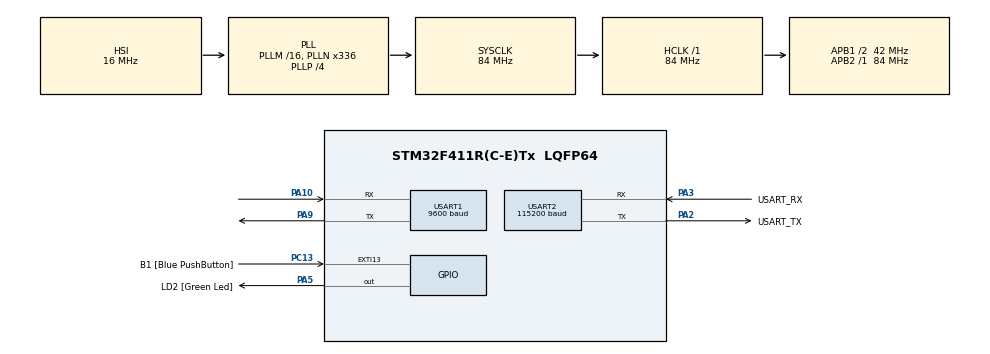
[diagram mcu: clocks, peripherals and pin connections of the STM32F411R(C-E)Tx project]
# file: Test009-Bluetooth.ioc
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Dma.Request0=USART1_RX
Dma.Request1=USART2_RX
Dma.USART1_RX.0.Direction=DMA_PERIPH_TO_MEMORY
Dma.USART1_RX.0.FIFOMode=DMA_FIFOMODE_DISABLE
Dma.USART1_RX.0.Instance=DMA2_Stream2
Dma.USART1_RX.0.MemDataAlignment=DMA_MDATAALIGN_BYTE
Dma.USART1_RX.0.MemInc=DMA_MINC_ENABLE
Dma.USART1_RX.0.Mode=DMA_CIRCULAR
Dma.USART1_RX.0.PeriphDataAlignment=DMA_PDATAALIGN_BYTE
Dma.USART1_RX.0.PeriphInc=DMA_PINC_DISABLE
Dma.USART1_RX.0.Priority=DMA_PRIORITY_LOW
Dma.USART2_RX.1.Direction=DMA_PERIPH_TO_MEMORY
Dma.USART2_RX.1.FIFOMode=DMA_FIFOMODE_DISABLE
Dma.USART2_RX.1.Instance=DMA1_Stream5
Dma.USART2_RX.1.MemDataAlignment=DMA_MDATAALIGN_BYTE
Dma.USART2_RX.1.MemInc=DMA_MINC_ENABLE
Dma.USART2_RX.1.Mode=DMA_CIRCULAR
Dma.USART2_RX.1.PeriphDataAlignment=DMA_PDATAALIGN_BYTE
Dma.USART2_RX.1.PeriphInc=DMA_PINC_DISABLE
Dma.USART2_RX.1.Priority=DMA_PRIORITY_LOW
Mcu.Family=STM32F4
Mcu.Name=STM32F411R(C-E)Tx
Mcu.Package=LQFP64
NVIC.DMA1_Stream5_IRQn=true\:0\:0\:false\:false\:true\:false\:true\:true
NVIC.DMA2_Stream2_IRQn=true\:0\:0\:false\:false\:true\:false\:true\:true
NVIC.PriorityGroup=NVIC_PRIORITYGROUP_0
NVIC.USART1_IRQn=true\:0\:0\:false\:false\:true\:true\:true\:true
NVIC.USART2_IRQn=true\:0\:0\:false\:false\:true\:true\:true\:true
PA10.Mode=Asynchronous
PA10.Signal=USART1_RX
PA13.GPIO_Label=TMS
PA13.Mode=Serial_Wire
PA13.Signal=SYS_JTMS-SWDIO
PA14.GPIO_Label=TCK
PA14.Mode=Serial_Wire
PA14.Signal=SYS_JTCK-SWCLK
PA2.GPIO_Label=USART_TX
PA2.Mode=Asynchronous
PA2.Signal=USART2_TX
PA3.GPIO_Label=USART_RX
PA3.Mode=Asynchronous
PA3.Signal=USART2_RX
PA5.GPIO_Label=LD2 [Green Led]
PA5.Signal=GPIO_Output
PA9.Mode=Asynchronous
PA9.Signal=USART1_TX
PB3.GPIO_Label=SWO
PB3.Signal=SYS_JTDO-SWO
PC13-ANTI_TAMP.GPIO_Label=B1 [Blue PushButton]
PC13-ANTI_TAMP.GPIO_ModeDefaultEXTI=GPIO_MODE_IT_FALLING
PC13-ANTI_TAMP.Signal=GPXTI13
PC14-OSC32_IN.Mode=LSE-External-Oscillator
PC14-OSC32_IN.Signal=RCC_OSC32_IN
PC15-OSC32_OUT.Mode=LSE-External-Oscillator
PC15-OSC32_OUT.Signal=RCC_OSC32_OUT
PH0\ -\ OSC_IN.Mode=HSE-External-Clock-Source
PH0\ -\ OSC_IN.Signal=RCC_OSC_IN
PH1\ -\ OSC_OUT.Mode=HSE-External-Clock-Source
PH1\ -\ OSC_OUT.Signal=RCC_OSC_OUT
ProjectManager.HeapSize=0x200
ProjectManager.StackSize=0x400
ProjectManager.TargetToolchain=STM32CubeIDE
RCC.48MHZClocksFreq_Value=84000000
RCC.AHBFreq_Value=84000000
RCC.APB1CLKDivider=RCC_HCLK_DIV2
RCC.APB1Freq_Value=42000000
RCC.APB1TimFreq_Value=84000000
RCC.APB2Freq_Value=84000000
RCC.APB2TimFreq_Value=84000000
RCC.CortexFreq_Value=84000000
RCC.FLatency-AdvancedSettings=FLASH_LATENCY_2
RCC.HCLKFreq_Value=84000000
RCC.HSE_VALUE=8000000
RCC.HSI_VALUE=16000000
RCC.PLLN=336
RCC.PLLP=RCC_PLLP_DIV4
RCC.SYSCLKFreq_VALUE=84000000
RCC.SYSCLKSource=RCC_SYSCLKSOURCE_PLLCLK
RCC.VCOOutputFreq_Value=336000000
USART1.BaudRate=9600
USART1.VirtualMode=VM_ASYNC
USART2.BaudRate=115200
USART2.VirtualMode=VM_ASYNC
board=NUCLEO-F411RE

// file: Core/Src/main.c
/* USER CODE BEGIN Header */
/**
  ******************************************************************************
  * @file           : main.c
  * @brief          : Main program body
  ******************************************************************************
  * @attention
  *
  * Copyright (c) 2025 STMicroelectronics.
  * All rights reserved.
  *
  * This software is licensed under terms that can be found in the LICENSE file
  * in the root directory of this software component.
  * If no LICENSE file comes with this software, it is provided AS-IS.
  *
  ******************************************************************************
  */
/* USER CODE END Header */
#include "main.h"

UART_HandleTypeDef huart1;
UART_HandleTypeDef huart2;
DMA_HandleTypeDef hdma_usart1_rx;
DMA_HandleTypeDef hdma_usart2_rx;

void SystemClock_Config(void);
static void MX_GPIO_Init(void);
static void MX_DMA_Init(void);
static void MX_USART2_UART_Init(void);
static void MX_USART1_UART_Init(void);

/* USER CODE BEGIN 0 */
#define BUF_SIZE 100
char buf1[BUF_SIZE], buf2[BUF_SIZE]; //DMA buffer for UART1, UART2
int h1 = 0, h2 = 0, t1 = 0, t2 = 0;  //head , tail
char dum1, dum2;

void HAL_UART_RxCpltCallback(UART_HandleTypeDef *huart)
{
	if(huart == &huart1) // from BT
	{
		buf1[t1++] = dum1;
		HAL_UART_Transmit(&huart2, &dum1, 1, 10);
		// == HAL_UART_Transmit(&huart2, buf1 + t1 - 1, 1, 10);
		if(dum1 == '\r') //End Of Line,
		{
			CheckCMD(buf1); //read the command in the buf1
			t1 = 0;
		}

	    HAL_UART_Receive_IT(&huart1, &dum1, 1);
	}

	else if(huart == &huart2)	//KBD input from Putty
	{
		buf2[t2++] = dum2;
		HAL_UART_Transmit (&huart2, &dum2, 1, 10);		// Terminal Echo

		if(dum2 == '\r')								// CR : 0x0d
		{
			HAL_UART_Transmit (&huart2, "\n", 1, 10);   // Terminal Echo

			buf2[t2++] = '\n';							// append LF for EOL
			HAL_UART_Transmit (&huart1, buf2, t2, 10);  // AT Command
		//HAL_UART_Transmit (%huart1, "\n")
		t2 = 0;
		}
		HAL_UART_Receive_IT(&huart2, &dum2, 1);
	}
}

void ToUpper(char *s)
{
	while(*s)
	{
		if(*s >= 'a' && *s <= 'z') *s &= 0xDF; s++;
	}
}
void ToLower(char *s)
{
	while(*s)
	{
		if(*s >= 'A' && *s <= 'Z') *s |= 0x20; s++;
	}
}

void TrimEx(char *dest, char *s)		// s = "_____x x x__   \t\r\n" ==> "x x x" , dest : destination
{
	int h=0, t=strlen(s)-1;
	while(1)	//head index
	{
		if(*(s+h)==' '||*(s+h)=='\t'||*(s+h)=='\r'||*(s+h)=='\n') h++;
		else break;
	}
	while(1)	//tail index
	{
		if(*(s+t)==' '||*(s+t)=='\t'||*(s+t)=='\r'||*(s+t)=='\n') t--;
		else break;
	}
	strncpy(dest, s+h, t-h+1);
}

char * Trim(char *s)		// s = "_____x x x__    \t\r\n" ==> "x x x" , dest : destination
{
	int h=0, t=strlen(s)-1;
	while(*(s+h)==' '||*(s+h)=='\t'||*(s+h)=='\r'||*(s+h)=='\n') h++;	//head index
	while(*(s+t)==' '||*(s+t)=='\t'||*(s+t)=='\r'||*(s+t)=='\n') t--; 	//tail index

	char *dest = (char *)malloc(t-h+1);
	strncpy(dest, s+h, t-h+1);
	return dest;
}

void CheckCMD (char *bb) // ex) str : = "   LED   1"  ==> str = "LED 1"
{

	char *str = Trim(bb);
	ToUpper(str);
	if(strncmp(str,"LED", 3) == 0)
	{
		char *arg = Trim(str+3);
		if(arg[0] == '1')
		{
			HAL_GPIO_WritePin(LD2_GPIO_Port, LD2_Pin, 1);
		}
		else if(arg[0] == '0')
		{
			HAL_GPIO_WritePin(LD2_GPIO_Port, LD2_Pin, 0);
		}
	}

}
/* USER CODE END 0 */

int main(void)
{

  /* MCU Configuration--------------------------------------------------------*/

  /* Reset of all peripherals, Initializes the Flash interface and the Systick. */
  HAL_Init();

  /* Configure the system clock */
  SystemClock_Config();

  /* Initialize all configured peripherals */
  MX_GPIO_Init();
  MX_DMA_Init();
  MX_USART2_UART_Init();
  MX_USART1_UART_Init();
  /* USER CODE BEGIN 2 */
  ProgramStart("Bluetooth");
  //HAL_UART_Receive_DMA(&huart1, buf1, BUF_SIZE);
  //HAL_UART_Receive_DMA(&huart2, buf2, BUF_SIZE);
  HAL_UART_Receive_IT(&huart1, &dum1, 1);
  HAL_UART_Receive_IT(&huart2, &dum2, 1);

  /* USER CODE END 2 */

  /* Infinite loop */
  /* USER CODE BEGIN WHILE */
  while (1)
  {
	  //if(GetBuffer(buf1))
    /* USER CODE END WHILE */

  }
}

void SystemClock_Config(void)
{
  RCC_OscInitTypeDef RCC_OscInitStruct = {0};
  RCC_ClkInitTypeDef RCC_ClkInitStruct = {0};

  /** Configure the main internal regulator output voltage
  */
  __HAL_RCC_PWR_CLK_ENABLE();
  __HAL_PWR_VOLTAGESCALING_CONFIG(PWR_REGULATOR_VOLTAGE_SCALE1);

  /** Initializes the RCC Oscillators according to the specified parameters
  * in the RCC_OscInitTypeDef structure.
  */
  RCC_OscInitStruct.OscillatorType = RCC_OSCILLATORTYPE_HSI;
  RCC_OscInitStruct.HSIState = RCC_HSI_ON;
  RCC_OscInitStruct.HSICalibrationValue = RCC_HSICALIBRATION_DEFAULT;
  RCC_OscInitStruct.PLL.PLLState = RCC_PLL_ON;
  RCC_OscInitStruct.PLL.PLLSource = RCC_PLLSOURCE_HSI;
  RCC_OscInitStruct.PLL.PLLM = 16;
  RCC_OscInitStruct.PLL.PLLN = 336;
  RCC_OscInitStruct.PLL.PLLP = RCC_PLLP_DIV4;
  RCC_OscInitStruct.PLL.PLLQ = 4;
  if (HAL_RCC_OscConfig(&RCC_OscInitStruct) != HAL_OK)
  {
    Error_Handler();
  }

  /** Initializes the CPU, AHB and APB buses clocks
  */
  RCC_ClkInitStruct.ClockType = RCC_CLOCKTYPE_HCLK|RCC_CLOCKTYPE_SYSCLK
                              |RCC_CLOCKTYPE_PCLK1|RCC_CLOCKTYPE_PCLK2;
  RCC_ClkInitStruct.SYSCLKSource = RCC_SYSCLKSOURCE_PLLCLK;
  RCC_ClkInitStruct.AHBCLKDivider = RCC_SYSCLK_DIV1;
  RCC_ClkInitStruct.APB1CLKDivider = RCC_HCLK_DIV2;
  RCC_ClkInitStruct.APB2CLKDivider = RCC_HCLK_DIV1;

  if (HAL_RCC_ClockConfig(&RCC_ClkInitStruct, FLASH_LATENCY_2) != HAL_OK)
  {
    Error_Handler();
  }
}

static void MX_USART1_UART_Init(void)
{

  huart1.Instance = USART1;
  huart1.Init.BaudRate = 9600;
  huart1.Init.WordLength = UART_WORDLENGTH_8B;
  huart1.Init.StopBits = UART_STOPBITS_1;
  huart1.Init.Parity = UART_PARITY_NONE;
  huart1.Init.Mode = UART_MODE_TX_RX;
  huart1.Init.HwFlowCtl = UART_HWCONTROL_NONE;
  huart1.Init.OverSampling = UART_OVERSAMPLING_16;
  if (HAL_UART_Init(&huart1) != HAL_OK)
  {
    Error_Handler();
  }

}

static void MX_USART2_UART_Init(void)
{

  huart2.Instance = USART2;
  huart2.Init.BaudRate = 115200;
  huart2.Init.WordLength = UART_WORDLENGTH_8B;
  huart2.Init.StopBits = UART_STOPBITS_1;
  huart2.Init.Parity = UART_PARITY_NONE;
  huart2.Init.Mode = UART_MODE_TX_RX;
  huart2.Init.HwFlowCtl = UART_HWCONTROL_NONE;
  huart2.Init.OverSampling = UART_OVERSAMPLING_16;
  if (HAL_UART_Init(&huart2) != HAL_OK)
  {
    Error_Handler();
  }

}

static void MX_DMA_Init(void)
{

  /* DMA controller clock enable */
  __HAL_RCC_DMA2_CLK_ENABLE();
  __HAL_RCC_DMA1_CLK_ENABLE();

  /* DMA interrupt init */
  /* DMA1_Stream5_IRQn interrupt configuration */
  HAL_NVIC_SetPriority(DMA1_Stream5_IRQn, 0, 0);
  HAL_NVIC_EnableIRQ(DMA1_Stream5_IRQn);
  /* DMA2_Stream2_IRQn interrupt configuration */
  HAL_NVIC_SetPriority(DMA2_Stream2_IRQn, 0, 0);
  HAL_NVIC_EnableIRQ(DMA2_Stream2_IRQn);

}

static void MX_GPIO_Init(void)
{
  GPIO_InitTypeDef GPIO_InitStruct = {0};

  /* GPIO Ports Clock Enable */
  __HAL_RCC_GPIOC_CLK_ENABLE();
  __HAL_RCC_GPIOH_CLK_ENABLE();
  __HAL_RCC_GPIOA_CLK_ENABLE();
  __HAL_RCC_GPIOB_CLK_ENABLE();

  /*Configure GPIO pin Output Level */
  HAL_GPIO_WritePin(LD2_GPIO_Port, LD2_Pin, GPIO_PIN_RESET);

  /*Configure GPIO pin : B1_Pin */
  GPIO_InitStruct.Pin = B1_Pin;
  GPIO_InitStruct.Mode = GPIO_MODE_IT_FALLING;
  GPIO_InitStruct.Pull = GPIO_NOPULL;
  HAL_GPIO_Init(B1_GPIO_Port, &GPIO_InitStruct);

  /*Configure GPIO pin : LD2_Pin */
  GPIO_InitStruct.Pin = LD2_Pin;
  GPIO_InitStruct.Mode = GPIO_MODE_OUTPUT_PP;
  GPIO_InitStruct.Pull = GPIO_NOPULL;
  GPIO_InitStruct.Speed = GPIO_SPEED_FREQ_LOW;
  HAL_GPIO_Init(LD2_GPIO_Port, &GPIO_InitStruct);

}

void Error_Handler(void)
{
  __disable_irq();
  while (1)
  {
  }
}
